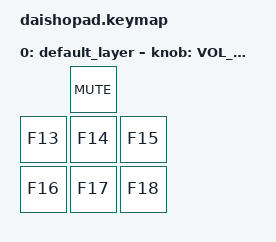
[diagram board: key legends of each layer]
#include <behaviors.dtsi>
#include <dt-bindings/zmk/keys.h>
#include <dt-bindings/zmk/bt.h>
#include <dt-bindings/zmk/outputs.h>

/ {
	keymap {
		compatible = "zmk,keymap";

		default_layer {
// -----------------------------------------------------------------------------------------
//   |         MUTE          |
//   |                       |
//   | F13   | F14   | F15   |
//   | F16   | F17   | F18   |
			bindings = <
                &kp C_MUTE

    &kp F13     &kp F14     &kp F15
    &kp F16     &kp F17     &kp F18
			>;

            sensor-bindings = <&inc_dec_kp C_VOL_DN C_VOL_UP>;
		};
	};
};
